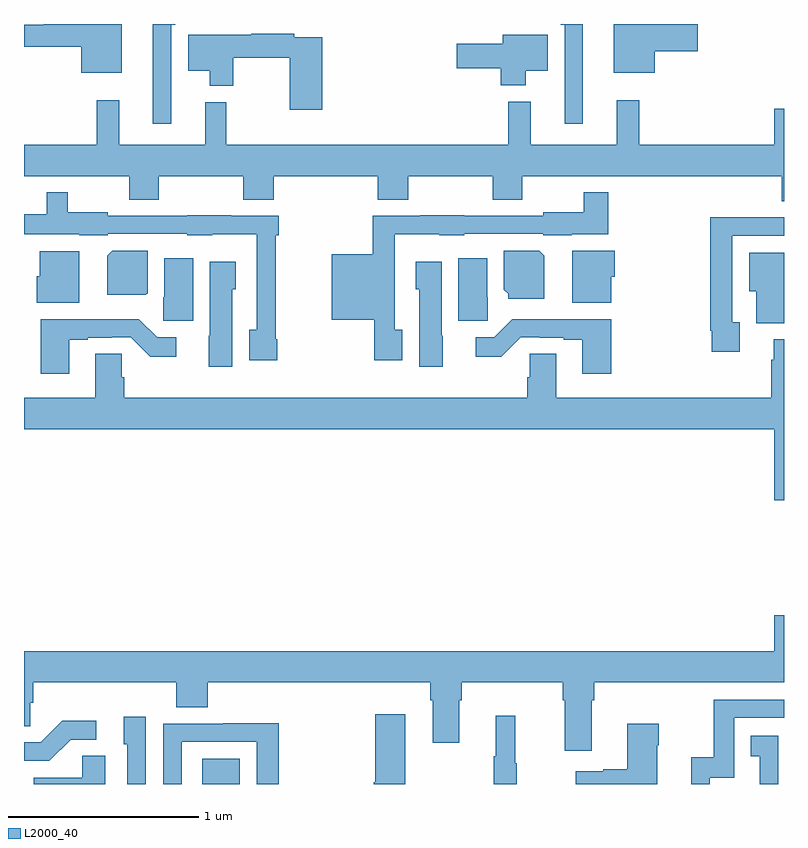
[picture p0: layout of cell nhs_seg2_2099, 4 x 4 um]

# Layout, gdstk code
import gdstk
lib = gdstk.Library(unit=1e-6, precision=1e-09)
def R(c, l, rs):  # rectangles x0, y0, x1, y1
    for r in rs: c.add(gdstk.rectangle(r[:2], r[2:], *l))
def P(c, l, *ps):  # polygons
    for p in ps: c.add(gdstk.Polygon(p, *l))
L2000_40 = (2000, 40)

nhs_seg2_2099 = lib.new_cell('nhs_seg2_2099')
R(nhs_seg2_2099, L2000_40, [(221.939,613.8,222.136,613.933)])
P(nhs_seg2_2099, L2000_40, [(221.515,617.8),(221.104,617.8),(221.104,617.797),(221,617.797),(221,617.68),(221.3,617.68),(221.3,617.543),(221.515,617.543)],
  [(221.775,617.795),(221.795,617.795),(221.795,617.8),(221.678,617.8),(221.678,617.274),(221.775,617.274)],
  [(223.942,617.8),(223.825,617.8),(223.825,617.795),(223.845,617.795),(223.845,617.274),(223.942,617.274)],
  [(224.32,617.657),(224.545,617.657),(224.545,617.8),(224.105,617.8),(224.105,617.543),(224.32,617.543)],
  [(222.569,617.73),(222.422,617.73),(222.422,617.75),(222.196,617.75),(222.196,617.743),(221.864,617.743),(221.864,617.555),(221.978,617.555),(221.978,617.474),(222.1,617.474),(222.1,617.622),(222.398,617.622),(222.398,617.349),(222.569,617.349)],
  [(223.642,617.555),(223.756,617.555),(223.756,617.743),(223.52,617.743),(223.52,617.695),(223.278,617.695),(223.278,617.566),(223.508,617.566),(223.508,617.477),(223.642,617.477)],
  [(225,617.353),(224.948,617.353),(224.948,617.164),(224.237,617.164),(224.237,617.398),(224.12,617.398),(224.12,617.164),(223.667,617.164),(223.667,617.392),(223.549,617.392),(223.549,617.164),(222.064,617.164),(222.064,617.389),(221.954,617.389),(221.954,617.164),(221.501,617.164),(221.501,617.398),(221.383,617.398),(221.383,617.164),(221,617.164),(221,617),(221.554,617),(221.554,616.876),(221.709,616.876),(221.709,617),(222.154,617),(222.154,616.876),(222.314,616.876),(222.314,617),(222.863,617),(222.863,616.876),(223.023,616.876),(223.023,617),(223.468,617),(223.468,616.876),(223.623,616.876),(223.623,617),(224.987,617),(224.987,616.867),(225,616.867)],
  [(222.991,616.19),(222.951,616.19),(222.951,616.694),(223.185,616.694),(223.185,616.688),(223.317,616.688),(223.317,616.695),(223.734,616.695),(223.734,616.688),(223.884,616.688),(223.884,616.694),(224.075,616.694),(224.075,616.915),(223.947,616.915),(223.947,616.81),(223.734,616.81),(223.734,616.791),(223.317,616.791),(223.317,616.793),(223.085,616.793),(223.085,616.791),(222.835,616.791),(222.835,616.588),(222.62,616.588),(222.62,616.244),(222.843,616.244),(222.843,616.029),(222.991,616.029)],
  [(222.334,616.141),(222.326,616.141),(222.326,616.688),(222.341,616.688),(222.341,616.791),(222.091,616.791),(222.091,616.793),(221.859,616.793),(221.859,616.791),(221.442,616.791),(221.442,616.81),(221.23,616.81),(221.23,616.915),(221.121,616.915),(221.121,616.799),(221,616.799),(221,616.694),(221.292,616.694),(221.292,616.688),(221.442,616.688),(221.442,616.695),(221.859,616.695),(221.859,616.688),(221.991,616.688),(221.991,616.694),(222.225,616.694),(222.225,616.19),(222.185,616.19),(222.185,616.029),(222.334,616.029)],
  [(224.767,616.23),(224.727,616.23),(224.727,616.686),(225,616.686),(225,616.782),(224.903,616.782),(224.903,616.784),(224.611,616.784),(224.611,616.186),(224.619,616.186),(224.619,616.074),(224.767,616.074)],
  [(223.738,616.58),(223.712,616.606),(223.526,616.606),(223.526,616.402),(223.548,616.38),(223.548,616.355),(223.738,616.355)],
  [(224.092,616.47),(224.11,616.47),(224.11,616.606),(223.886,616.606),(223.886,616.334),(224.092,616.334)],
  [(221.65,616.384),(221.65,616.606),(221.464,616.606),(221.438,616.58),(221.438,616.376),(221.642,616.376)],
  [(221.29,616.604),(221.084,616.604),(221.084,616.473),(221.066,616.473),(221.066,616.334),(221.29,616.334)],
  [(225,616.597),(224.816,616.597),(224.816,616.394),(224.855,616.394),(224.855,616.226),(225,616.226)],
  [(221.89,616.567),(221.738,616.567),(221.738,616.362),(221.734,616.362),(221.734,616.239),(221.89,616.239)],
  [(223.442,616.362),(223.438,616.362),(223.438,616.567),(223.286,616.567),(223.286,616.239),(223.442,616.239)],
  [(223.204,616.158),(223.198,616.158),(223.198,616.549),(223.061,616.549),(223.061,616.404),(223.079,616.404),(223.079,615.996),(223.204,615.996)],
  [(222.097,616.404),(222.115,616.404),(222.115,616.549),(221.978,616.549),(221.978,616.158),(221.972,616.158),(221.972,615.996),(222.097,615.996)],
  [(221.239,616.137),(221.335,616.137),(221.335,616.149),(221.462,616.149),(221.462,616.152),(221.562,616.152),(221.665,616.05),(221.8,616.05),(221.8,616.152),(221.7,616.152),(221.605,616.247),(221.087,616.247),(221.087,615.96),(221.239,615.96)],
  [(224.09,616.246),(223.57,616.246),(223.476,616.152),(223.377,616.152),(223.377,616.05),(223.512,616.05),(223.614,616.152),(223.714,616.152),(223.714,616.149),(223.841,616.149),(223.841,616.137),(223.937,616.137),(223.937,615.96),(224.09,615.96)],
  [(225,616.141),(224.945,616.141),(224.945,616.034),(224.933,616.034),(224.933,615.832),(223.801,615.832),(223.801,616.064),(223.662,616.064),(223.662,615.942),(223.649,615.942),(223.649,615.832),(221.528,615.832),(221.528,615.942),(221.514,615.942),(221.514,616.064),(221.375,616.064),(221.375,615.832),(221,615.832),(221,615.668),(224.948,615.668),(224.948,615.294),(225,615.294)],
  [(223.987,614.24),(224,614.24),(224,614.336),(225,614.336),(225,614.689),(224.948,614.689),(224.948,614.5),(221,614.5),(221,614.104),(221.034,614.104),(221.034,614.227),(221.048,614.227),(221.048,614.336),(221.801,614.336),(221.801,614.203),(221.966,614.203),(221.966,614.336),(223.139,614.336),(223.139,614.24),(223.151,614.24),(223.151,614.016),(223.291,614.016),(223.291,614.24),(223.304,614.24),(223.304,614.336),(223.835,614.336),(223.835,614.24),(223.847,614.24),(223.847,613.974),(223.987,613.974)],
  [(224.61,613.833),(224.739,613.833),(224.739,614.148),(225,614.148),(225,614.244),(224.631,614.244),(224.631,613.942),(224.513,613.942),(224.513,613.8),(224.61,613.8)],
  [(223.006,614.167),(222.848,614.167),(222.848,613.809),(222.842,613.809),(222.842,613.8),(223.006,613.8)],
  [(223.594,613.908),(223.586,613.908),(223.586,614.158),(223.484,614.158),(223.484,613.945),(223.473,613.945),(223.473,613.8),(223.594,613.8)],
  [(221.64,614.155),(221.525,614.155),(221.525,614.01),(221.544,614.01),(221.544,613.8),(221.64,613.8)],
  [(221.245,614.034),(221.38,614.034),(221.38,614.132),(221.201,614.132),(221.088,614.019),(221,614.019),(221,613.923),(221.134,613.923)],
  [(221.829,614.022),(222.225,614.022),(222.225,613.8),(222.341,613.8),(222.341,614.12),(222.049,614.12),(222.049,614.118),(221.733,614.118),(221.733,613.8),(221.829,613.8)],
  [(224.332,614.003),(224.34,614.003),(224.34,614.116),(224.174,614.116),(224.174,613.877),(224.048,613.877),(224.048,613.867),(223.905,613.867),(223.905,613.8),(224.332,613.8)],
  [(224.97,614.053),(224.824,614.053),(224.824,613.947),(224.873,613.947),(224.873,613.8),(224.97,613.8)],
  [(221.428,613.949),(221.307,613.949),(221.307,613.834),(221.05,613.834),(221.05,613.8),(221.428,613.8)])

lib.write_gds('nhs_seg2_2099.gds')
